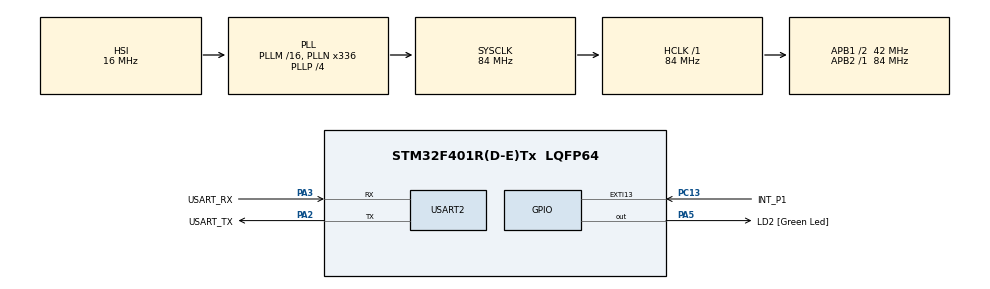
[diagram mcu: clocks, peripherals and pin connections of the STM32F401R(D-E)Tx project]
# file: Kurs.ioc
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Mcu.Family=STM32F4
Mcu.Name=STM32F401R(D-E)Tx
Mcu.Package=LQFP64
NVIC.EXTI15_10_IRQn=true\:0\:0\:false\:false\:true\:true\:true\:true
NVIC.PriorityGroup=NVIC_PRIORITYGROUP_0
NVIC.USART2_IRQn=true\:0\:0\:false\:false\:true\:true\:true\:true
PA13.GPIO_Label=TMS
PA13.Mode=Serial_Wire
PA13.Signal=SYS_JTMS-SWDIO
PA14.GPIO_Label=TCK
PA14.Mode=Serial_Wire
PA14.Signal=SYS_JTCK-SWCLK
PA2.GPIO_Label=USART_TX
PA2.GPIO_Mode=GPIO_MODE_AF_PP
PA2.GPIO_PuPd=GPIO_NOPULL
PA2.GPIO_Speed=GPIO_SPEED_FREQ_LOW
PA2.Mode=Asynchronous
PA2.Signal=USART2_TX
PA3.GPIO_Label=USART_RX
PA3.GPIO_Mode=GPIO_MODE_AF_PP
PA3.GPIO_PuPd=GPIO_NOPULL
PA3.GPIO_Speed=GPIO_SPEED_FREQ_LOW
PA3.Mode=Asynchronous
PA3.Signal=USART2_RX
PA5.GPIO_Label=LD2 [Green Led]
PA5.GPIO_Mode=GPIO_MODE_OUTPUT_PP
PA5.GPIO_PuPd=GPIO_NOPULL
PA5.GPIO_Speed=GPIO_SPEED_FREQ_LOW
PA5.Signal=GPIO_Output
PB3.GPIO_Label=SWO
PB3.Signal=SYS_JTDO-SWO
PC13-ANTI_TAMP.GPIO_Label=INT_P1
PC13-ANTI_TAMP.GPIO_ModeDefaultEXTI=GPIO_MODE_IT_RISING
PC13-ANTI_TAMP.Signal=GPXTI13
PC14-OSC32_IN.Mode=LSE-External-Oscillator
PC14-OSC32_IN.Signal=RCC_OSC32_IN
PC15-OSC32_OUT.Mode=LSE-External-Oscillator
PC15-OSC32_OUT.Signal=RCC_OSC32_OUT
PH0\ -\ OSC_IN.Mode=HSE-External-Clock-Source
PH0\ -\ OSC_IN.Signal=RCC_OSC_IN
PH1\ -\ OSC_OUT.Mode=HSE-External-Clock-Source
PH1\ -\ OSC_OUT.Signal=RCC_OSC_OUT
ProjectManager.HeapSize=0x200
ProjectManager.StackSize=0x400
ProjectManager.TargetToolchain=STM32CubeIDE
RCC.48MHZClocksFreq_Value=48000000
RCC.AHBFreq_Value=84000000
RCC.APB1CLKDivider=RCC_HCLK_DIV2
RCC.APB1Freq_Value=42000000
RCC.APB1TimFreq_Value=84000000
RCC.APB2Freq_Value=84000000
RCC.APB2TimFreq_Value=84000000
RCC.CortexFreq_Value=84000000
RCC.HCLKFreq_Value=84000000
RCC.HSE_VALUE=8000000
RCC.HSI_VALUE=16000000
RCC.PLLN=336
RCC.PLLP=RCC_PLLP_DIV4
RCC.PLLQ=7
RCC.SYSCLKFreq_VALUE=84000000
RCC.SYSCLKSource=RCC_SYSCLKSOURCE_PLLCLK
RCC.VCOOutputFreq_Value=336000000
USART2.VirtualMode=VM_ASYNC
board=NUCLEO-F401RE

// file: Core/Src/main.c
/* USER CODE BEGIN Header */
/**
  ******************************************************************************
  * @file           : main.c
  * @brief          : Main program body
  ******************************************************************************
  * @attention
  *
  * <h2><center>&copy; Copyright (c) 2024 STMicroelectronics.
  * All rights reserved.</center></h2>
  *
  * This software component is licensed by ST under BSD 3-Clause license,
  * the "License"; You may not use this file except in compliance with the
  * License. You may obtain a copy of the License at:
  *                        opensource.org/licenses/BSD-3-Clause
  *
  ******************************************************************************
  */
/* USER CODE END Header */
#include "main.h"
#include "usart.h"
#include "gpio.h"

/* USER CODE BEGIN PV */
uint8_t znak, komunikat[20];
uint16_t dl_kom;
/* USER CODE END PV */

void SystemClock_Config(void);

int main(void)
{

  /* MCU Configuration--------------------------------------------------------*/

  /* Reset of all peripherals, Initializes the Flash interface and the Systick. */
  HAL_Init();

  /* Configure the system clock */
  SystemClock_Config();

  /* Initialize all configured peripherals */
  MX_GPIO_Init();
  MX_USART2_UART_Init();
  /* USER CODE BEGIN 2 */
  HAL_UART_Receive_IT(&huart2, &znak, 1);

  /* USER CODE END 2 */

  /* Infinite loop */
  while (1)
  {

  }
}

void SystemClock_Config(void)
{
  RCC_OscInitTypeDef RCC_OscInitStruct = {0};
  RCC_ClkInitTypeDef RCC_ClkInitStruct = {0};

  /** Configure the main internal regulator output voltage
  */
  __HAL_RCC_PWR_CLK_ENABLE();
  __HAL_PWR_VOLTAGESCALING_CONFIG(PWR_REGULATOR_VOLTAGE_SCALE2);

  /** Initializes the RCC Oscillators according to the specified parameters
  * in the RCC_OscInitTypeDef structure.
  */
  RCC_OscInitStruct.OscillatorType = RCC_OSCILLATORTYPE_HSI;
  RCC_OscInitStruct.HSIState = RCC_HSI_ON;
  RCC_OscInitStruct.HSICalibrationValue = RCC_HSICALIBRATION_DEFAULT;
  RCC_OscInitStruct.PLL.PLLState = RCC_PLL_ON;
  RCC_OscInitStruct.PLL.PLLSource = RCC_PLLSOURCE_HSI;
  RCC_OscInitStruct.PLL.PLLM = 16;
  RCC_OscInitStruct.PLL.PLLN = 336;
  RCC_OscInitStruct.PLL.PLLP = RCC_PLLP_DIV4;
  RCC_OscInitStruct.PLL.PLLQ = 7;
  if (HAL_RCC_OscConfig(&RCC_OscInitStruct) != HAL_OK)
  {
    Error_Handler();
  }

  /** Initializes the CPU, AHB and APB buses clocks
  */
  RCC_ClkInitStruct.ClockType = RCC_CLOCKTYPE_HCLK|RCC_CLOCKTYPE_SYSCLK
                              |RCC_CLOCKTYPE_PCLK1|RCC_CLOCKTYPE_PCLK2;
  RCC_ClkInitStruct.SYSCLKSource = RCC_SYSCLKSOURCE_PLLCLK;
  RCC_ClkInitStruct.AHBCLKDivider = RCC_SYSCLK_DIV1;
  RCC_ClkInitStruct.APB1CLKDivider = RCC_HCLK_DIV2;
  RCC_ClkInitStruct.APB2CLKDivider = RCC_HCLK_DIV1;

  if (HAL_RCC_ClockConfig(&RCC_ClkInitStruct, FLASH_LATENCY_2) != HAL_OK)
  {
    Error_Handler();
  }
}

/* USER CODE BEGIN 4 */

void HAL_GPIO_EXTI_Callback(uint16_t GPIO_Pin)
{
	if(GPIO_Pin == INT_P1_Pin)
	{
		HAL_GPIO_TogglePin(LD2_GPIO_Port, LD2_Pin);
	}
}

void HAL_UART_RxCpltCallback(UART_HandleTypeDef *huart)
{
	if(huart->Instance == USART2)
	{
		if(znak == 'e')
		{
			HAL_GPIO_WritePin(LD2_GPIO_Port,LD2_Pin, GPIO_PIN_SET);
			sprintf(komunikat, "Dioda ON");
			dl_kom = 8;
		}
		else if(znak == 'd')
		{
			HAL_GPIO_WritePin(LD2_GPIO_Port,LD2_Pin, GPIO_PIN_RESET);
			sprintf(komunikat, "Dioda OFF");
			dl_kom = 9;
		}
		else
		{
			sprintf(komunikat, "Zly znak");
			dl_kom = 8;
		}
		HAL_UART_Transmit_IT(&huart2, komunikat, dl_kom);
		HAL_UART_Receive_IT(&huart2, &znak, 1);
	}
}

/* USER CODE END 4 */

void Error_Handler(void)
{
  __disable_irq();
  while (1)
  {
  }
}
